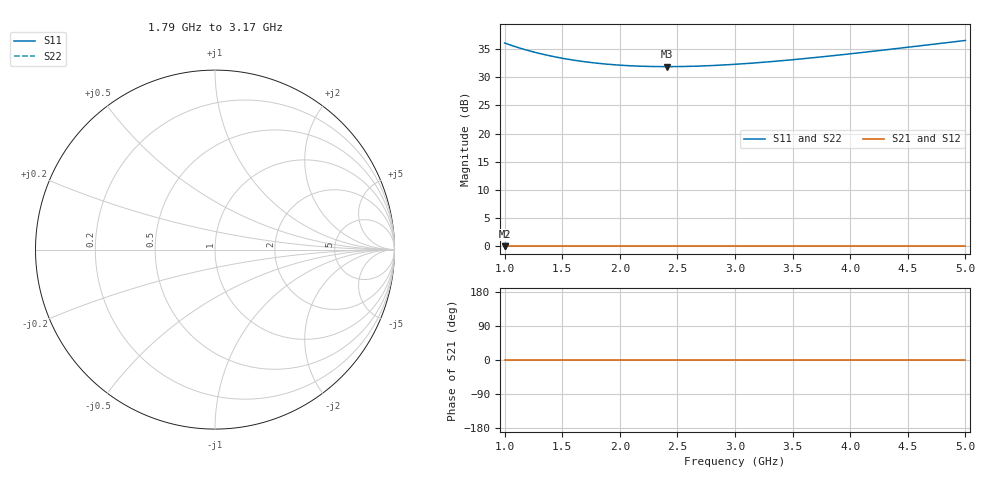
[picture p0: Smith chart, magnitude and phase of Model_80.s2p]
# GHZ S RI R 50
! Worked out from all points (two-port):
!   401 points, 1 GHz to 5 GHz, reference 50 ohm
!   highest |S21| = 0.00 dB at 1 GHz (marker M1); lowest = 0.0 dB at 1 GHz (marker M2)
!   |S21| within 3 dB of the highest: start of sweep to end of sweep
!   lowest |S11| = 31.9 dB at 2.41 GHz (marker M3)
!   |S11| at or under -10 dB: nowhere
!   |S22| runs from 31.9 to 36.5 dB; largest |S21 - S12| = 0
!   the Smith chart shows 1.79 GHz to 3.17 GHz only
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1  63.66 0  1 0  1 0  63.66 0
1.02  62.58 0  1 0  1 0  62.58 0
1.15  56.64 0  1 0  1 0  56.64 0
1.22  54.04 0  1 0  1 0  54.04 0
1.3  51.49 0  1 0  1 0  51.49 0
1.38  49.31 0  1 0  1 0  49.31 0
1.47  47.23 0  1 0  1 0  47.23 0
1.57  45.31 0  1 0  1 0  45.31 0
1.67  43.74 0  1 0  1 0  43.74 0
1.82  41.94 0  1 0  1 0  41.94 0
1.98  40.6 0  1 0  1 0  40.6 0
2.15  39.72 0  1 0  1 0  39.72 0
2.34  39.29 0  1 0  1 0  39.29 0
2.41  39.26 0  1 0  1 0  39.26 0
2.7  39.75 0  1 0  1 0  39.75 0
3  41.17 0  1 0  1 0  41.17 0
3.33  43.63 0  1 0  1 0  43.63 0
3.67  47.01 0  1 0  1 0  47.01 0
4  51.02 0  1 0  1 0  51.02 0
4.34  55.84 0  1 0  1 0  55.84 0
4.64  60.64 0  1 0  1 0  60.64 0
5  67.05 0  1 0  1 0  67.05 0
